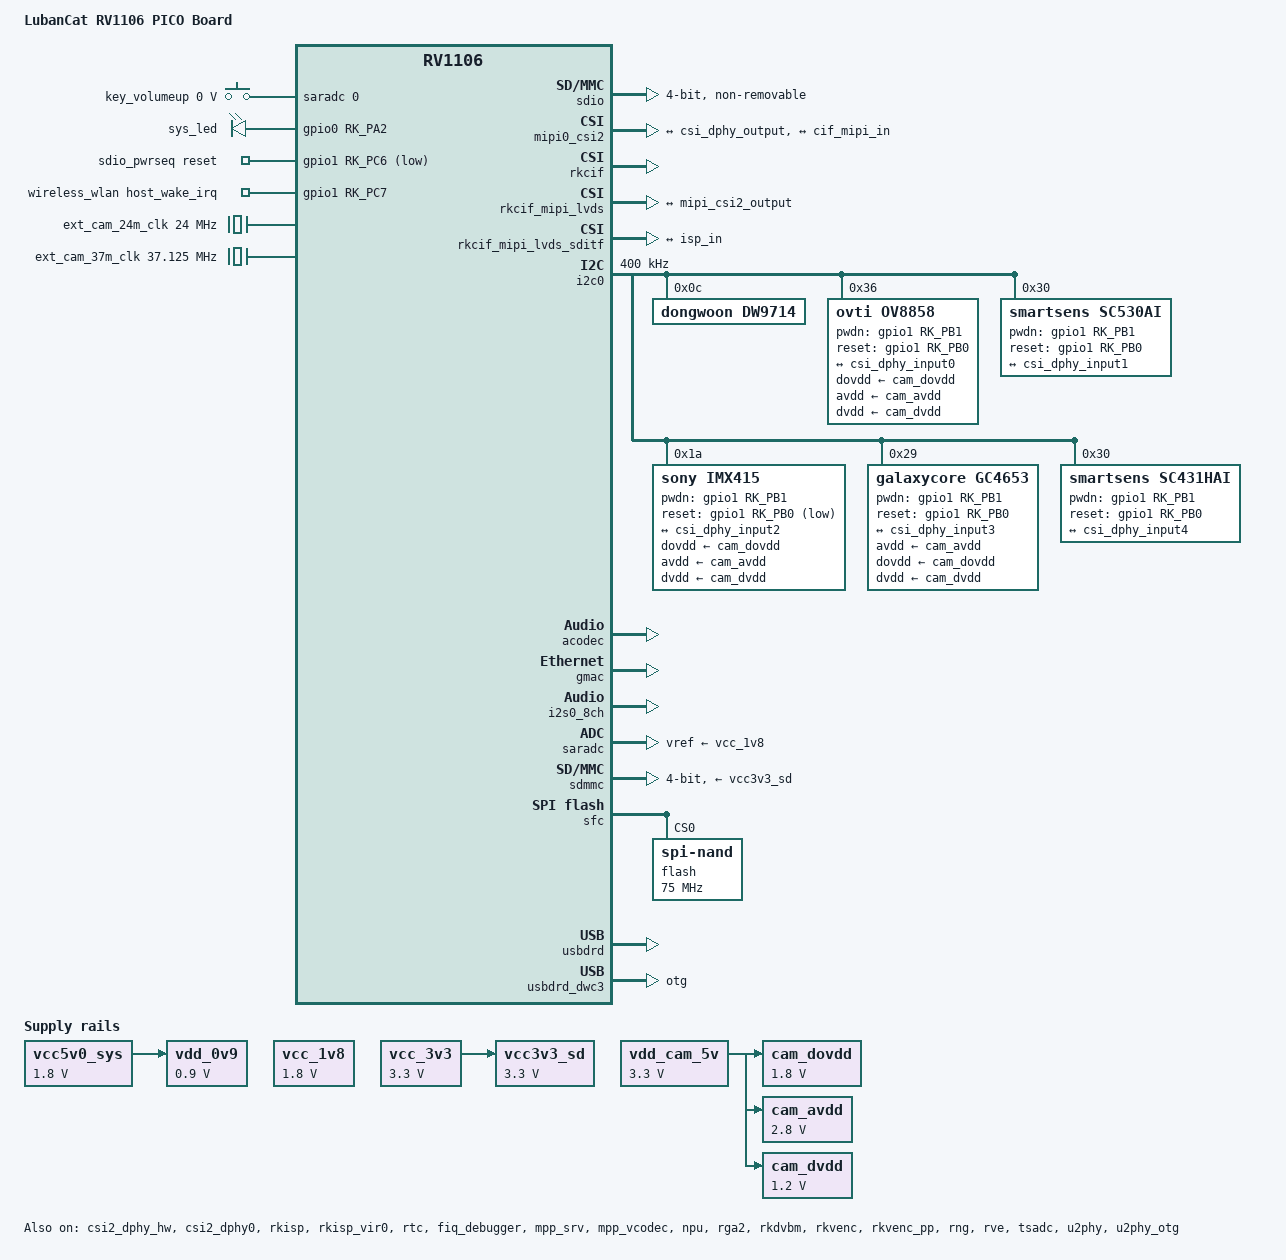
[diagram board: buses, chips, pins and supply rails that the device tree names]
// SPDX-License-Identifier: (GPL-2.0+ OR MIT)
/*
 * Copyright (c) 2022 Rockchip Electronics Co., Ltd.
 */

/dts-v1/;

#include "rv1106.dtsi"
#include <dt-bindings/input/input.h>

/ {
    model = "LubanCat RV1106 PICO Board";
	compatible = "embedfire,rv1106g-lubancat-pico", "rockchip,rv1106";

	chosen {
		bootargs = "earlycon=uart8250,mmio32,0xff4c0000 console=ttyFIQ0 root=/dev/mmcblk0p5 rootfstype=ext4 rootwait snd_soc_core.prealloc_buffer_size_kbytes=16 coherent_pool=0 net.ifnames=0 biosdevname=0";
	};

	acodec_sound: acodec-sound {
		compatible = "simple-audio-card";
		simple-audio-card,name = "rv1106-acodec";
		simple-audio-card,format = "i2s";
		simple-audio-card,mclk-fs = <256>;
		simple-audio-card,cpu {
			sound-dai = <&i2s0_8ch>;
		};
		simple-audio-card,codec {
			sound-dai = <&acodec>;
		};
	};

	restart-poweroff {
		compatible = "restart-poweroff";
	};

	recovery-key {
		compatible = "adc-keys";
		io-channels = <&saradc 0>;
		io-channel-names = "buttons";
		poll-interval = <100>;
		keyup-threshold-microvolt = <1800000>;

		key {
			label = "key_volumeup";
			linux,code = <KEY_VOLUMEUP>;
			press-threshold-microvolt = <0>;
		};
	};

	leds: leds {
		status = "okay";
		compatible = "gpio-leds";

		sys_led: sys-led {
			label = "sys_led";
			linux,default-trigger = "heartbeat";
			default-state = "on";
			gpios = <&gpio0 RK_PA2 GPIO_ACTIVE_HIGH>;
		};
	};

	vdd_0v9: vdd-0v9 {
		compatible = "regulator-fixed";
		regulator-name = "vdd_0v9";
		regulator-always-on;
		regulator-boot-on;
		regulator-min-microvolt = <900000>;
		regulator-max-microvolt = <900000>;
		vin-supply = <&vcc5v0_sys>;
	};

	vcc5v0_sys: vcc5v0-sys {
		compatible = "regulator-fixed";
		regulator-name = "vcc5v0_sys";
		regulator-always-on;
		regulator-boot-on;
		regulator-min-microvolt = <1800000>;
		regulator-max-microvolt = <1800000>;
	};

	vcc_1v8: vcc-1v8 {
		compatible = "regulator-fixed";
		regulator-name = "vcc_1v8";
		regulator-always-on;
		regulator-boot-on;
		regulator-min-microvolt = <1800000>;
		regulator-max-microvolt = <1800000>;
	};

	vcc_3v3: vcc-3v3 {
		compatible = "regulator-fixed";
		regulator-name = "vcc_3v3";
		regulator-always-on;
		regulator-boot-on;
		regulator-min-microvolt = <3300000>;
		regulator-max-microvolt = <3300000>;
	};

	vcc3v3_sd: vcc3v3-sd {
		compatible = "regulator-fixed";
		regulator-name = "vcc3v3_sd";
		regulator-always-on;
		regulator-boot-on;
		regulator-min-microvolt = <3300000>;
		regulator-max-microvolt = <3300000>;
		vin-supply = <&vcc_3v3>;
	};

	sdio_pwrseq: sdio-pwrseq {
		compatible = "mmc-pwrseq-simple";
		pinctrl-names = "default";
		pinctrl-0 = <&wifi_enable_h>;
		reset-gpios = <&gpio1 RK_PC6 GPIO_ACTIVE_LOW>;
	};

	wireless_wlan: wireless-wlan {
		compatible = "wlan-platdata";
		wifi_chip_type = "aic8800";
		// pinctrl-names = "default";
		// pinctrl-0 = <&wifi_host_wake_irq>;
		WIFI,host_wake_irq = <&gpio1 RK_PC7 GPIO_ACTIVE_HIGH>;
		status = "okay";
	};

	ext_cam_24m_clk: external-camera-24m-clock {
		compatible = "fixed-clock";
		#clock-cells = <0>;
		clock-frequency = <24000000>;
		clock-output-names = "ext_cam_24m_clk";
	}; 

	ext_cam_37m_clk: external-camera-37m-clock {
		compatible = "fixed-clock";
		clock-frequency = <37125000>;
		clock-output-names = "ext_cam_37m_clk";
		#clock-cells = <0>;
	};

	vdd_cam_5v: vdd-cam-5v-regulator {
		compatible = "regulator-fixed";
		regulator-name = "vdd_cam_5v";
		regulator-always-on;
		regulator-boot-on;
		regulator-min-microvolt = <3300000>;
		regulator-max-microvolt = <3300000>;
	};

	cam_dovdd: cam-dovdd {
		compatible = "regulator-fixed";
		regulator-name = "cam_dovdd";
		regulator-always-on;
		regulator-boot-on;
		regulator-min-microvolt = <1800000>;
		regulator-max-microvolt = <1800000>;
		vin-supply = <&vdd_cam_5v>;
	};

	cam_avdd: cam-avdd {
		compatible = "regulator-fixed";
		regulator-name = "cam_avdd";
		regulator-always-on;
		regulator-boot-on;
		regulator-min-microvolt = <2800000>;
		regulator-max-microvolt = <2800000>;
		vin-supply = <&vdd_cam_5v>;
	};

	cam_dvdd: cam-dvdd {
		compatible = "regulator-fixed";
		regulator-name = "cam_dvdd";
		regulator-always-on;
		regulator-boot-on;
		regulator-min-microvolt = <1200000>;
		regulator-max-microvolt = <1200000>;
		vin-supply = <&vdd_cam_5v>;
	};

};

&sdio {
	max-frequency = <50000000>;
	no-sd;
	no-mmc;
	bus-width = <4>;
	cap-sd-highspeed;
	cap-sdio-irq;
	keep-power-in-suspend;
	mmc-pwrseq = <&sdio_pwrseq>;
	non-removable;
	pinctrl-names = "default";
	pinctrl-0 = <&sdmmc1m1_cmd &sdmmc1m1_clk &sdmmc1m1_bus4>;
	status = "okay";
};

&pinctrl {
	sdio-pwrseq {
		wifi_enable_h: wifi-enable-h {
			rockchip,pins = <1 RK_PC6 RK_FUNC_GPIO &pcfg_pull_none>;
		};
	};

	wireless-wlan {
		wifi_host_wake_irq: wifi-host-wake-irq {
			rockchip,pins = <1 RK_PC7 RK_FUNC_GPIO &pcfg_pull_none>;
		};
	};
};


&csi2_dphy_hw {
	status = "okay";
};

&csi2_dphy0 {
	status = "okay";

	ports {
		#address-cells = <1>;
		#size-cells = <0>;

		port@0 {
			reg = <0>;
			#address-cells = <1>;
			#size-cells = <0>;

			csi_dphy_input0: endpoint@0 {
				reg = <0>;
				remote-endpoint = <&ov8858_out>;
				data-lanes = <1 2>;
			};

			csi_dphy_input1: endpoint@1 {
				reg = <1>;
				remote-endpoint = <&sc530ai_out>;
				data-lanes = <1 2>;
			};

			csi_dphy_input2: endpoint@2 {
				reg = <2>;
				remote-endpoint = <&imx415_out>;
				data-lanes = <1 2>;
			};

			csi_dphy_input3: endpoint@3 {
				reg = <3>;
				remote-endpoint = <&gc4653_out>;
				data-lanes = <1 2>;
			};

			csi_dphy_input4: endpoint@4 {
				reg = <4>;
				remote-endpoint = <&sc431hai_out>;
				data-lanes = <1 2>;
			};

			csi_dphy_input5: endpoint@5 {
				reg = <5>;
				remote-endpoint = <&sc235hai_out>;
				data-lanes = <1 2>;
			};
			
		};

		port@1 {
			reg = <1>;
			#address-cells = <1>;
			#size-cells = <0>;

			csi_dphy_output: endpoint@0 {
				reg = <0>;
				remote-endpoint = <&mipi_csi2_input>;
			};
		};
	};
};

&mipi0_csi2 {
	status = "okay";

	ports {
		#address-cells = <1>;
		#size-cells = <0>;

		port@0 {
			reg = <0>;
			#address-cells = <1>;
			#size-cells = <0>;

			mipi_csi2_input: endpoint@1 {
				reg = <1>;
				remote-endpoint = <&csi_dphy_output>;
			};
		};

		port@1 {
			reg = <1>;
			#address-cells = <1>;
			#size-cells = <0>;

			mipi_csi2_output: endpoint@0 {
				reg = <0>;
				remote-endpoint = <&cif_mipi_in>;
			};
		};
	};
};

&rkcif {
	status = "okay";
};

&rkcif_mipi_lvds {
	status = "okay";

	pinctrl-names = "default";
	pinctrl-0 = <&mipi_pins>;
	port {
		/* MIPI CSI-2 endpoint */
		cif_mipi_in: endpoint {
			remote-endpoint = <&mipi_csi2_output>;
		};
	};
};

&rkcif_mipi_lvds_sditf {
	status = "okay";

	port {
		/* MIPI CSI-2 endpoint */
		mipi_lvds_sditf: endpoint {
			remote-endpoint = <&isp_in>;
		};
	};
};

&rkisp {
	status = "okay";
};

&rkisp_vir0 {
	status = "okay";

	port@0 {
		isp_in: endpoint {
			remote-endpoint = <&mipi_lvds_sditf>;
		};
	};
};

&i2c0 {
	status = "okay";
	clock-frequency = <400000>;
	pinctrl-names = "default";
	pinctrl-0 = <&i2c0m0_xfer>;

	dw9714: dw9714@c {
		status = "okay";
		compatible = "dongwoon,dw9714";
		reg = <0xc>;
		rockchip,camera-module-index = <0>;
		rockchip,vcm-max-current = <100>;
		rockchip,vcm-start-current = <0>;
		rockchip,vcm-rated-current = <100>;
		rockchip,vcm-step-mode = <0xd>;
		rockchip,vcm-dlc-enable = <0>;
		rockchip,vcm-mclk = <0>;	
		rockchip,vcm-t-src = <0>;
		rockchip,camera-module-facing = "back";
	};


	ov8858: ov8858@36 {
		compatible = "ovti,ov8858";
		status = "okay";
		reg = <0x36>;
		clocks = <&ext_cam_24m_clk>;
		clock-names = "xvclk";
		pwdn-gpios = <&gpio1 RK_PB1 GPIO_ACTIVE_HIGH>;
		reset-gpios = <&gpio1 RK_PB0 GPIO_ACTIVE_HIGH>;

		dovdd-supply= <&cam_dovdd>; /* 1.8v */
		avdd-supply = <&cam_avdd>;  /* 2.8v */
		dvdd-supply = <&cam_dvdd>;  /* 1.2v */

		rockchip,camera-module-index = <0>;
		rockchip,camera-module-facing = "back";
		rockchip,camera-module-name = "HS5885-BNSM1018-V01";
		rockchip,camera-module-lens-name = "default";
		lens-focus = <&dw9714>;

		port {
			/* MIPI CSI-2 bus endpoint */
			ov8858_out: endpoint {
				remote-endpoint = <&csi_dphy_input0>;
				data-lanes = <1 2>;
			};
		};
	};

	sc530ai: sc530ai@30 {
		compatible = "smartsens,sc530ai";
		status = "okay";
		reg = <0x30>;
		clocks = <&ext_cam_24m_clk>;
		clock-names = "xvclk";
		pwdn-gpios = <&gpio1 RK_PB1 GPIO_ACTIVE_HIGH>;
		reset-gpios = <&gpio1 RK_PB0 GPIO_ACTIVE_HIGH>;
		rockchip,camera-module-index = <0>;
		rockchip,camera-module-facing = "back";
		rockchip,camera-module-name = "CMK-OT2115-PC1";
		rockchip,camera-module-lens-name = "30IRC-F16";
		port {
			sc530ai_out: endpoint {
				remote-endpoint = <&csi_dphy_input1>;
				data-lanes = <1 2>;
			};
		};
	};

	imx415: imx415@1a {
		compatible = "sony,imx415";
		status = "okay";
		reg = <0x1a>;
		clocks = <&ext_cam_37m_clk>;
		clock-names = "xvclk";
		pwdn-gpios = <&gpio1 RK_PB1 GPIO_ACTIVE_HIGH>;
		reset-gpios = <&gpio1 RK_PB0 GPIO_ACTIVE_LOW>;

		dovdd-supply= <&cam_dovdd>; /* 1.8v */
		avdd-supply = <&cam_avdd>;  /* 2.8v */
		dvdd-supply = <&cam_dvdd>;  /* 1.2v */

		rockchip,camera-module-index = <0>;
		rockchip,camera-module-facing = "back";
		rockchip,camera-module-name = "CMK-OT2022-PX1";
		rockchip,camera-module-lens-name = "IR0147-50IRC-8M-F20";
		rockchip,imx415-capture-mode=<1>; /* 1920x1080 */
		port {
			imx415_out: endpoint {
				remote-endpoint = <&csi_dphy_input2>;
				data-lanes = <1 2>;
			};
		};
	};

	gc4653: gc4653@29 {
		compatible = "galaxycore,gc4653";
		status = "okay";
		reg = <0x29>;
		clocks = <&ext_cam_24m_clk>;
		clock-names = "xvclk";

		avdd-supply = <&cam_avdd>;
		dovdd-supply = <&cam_dovdd>;
		dvdd-supply = <&cam_dvdd>;
		pwdn-gpios = <&gpio1 RK_PB1 GPIO_ACTIVE_HIGH>;
		reset-gpios = <&gpio1 RK_PB0 GPIO_ACTIVE_HIGH>;
		
		rockchip,camera-module-index = <0>;
		rockchip,camera-module-facing = "front";
		rockchip,camera-module-name = "YT10120";
		rockchip,camera-module-lens-name = "30IRC-4M-F20";

		// NO_HDR:0 HDR_X2:5 HDR_X3:6
		// rockchip,camera-hdr-mode = <0>;
		port {
			gc4653_out: endpoint {
				remote-endpoint = <&csi_dphy_input3>;
				data-lanes = <1 2>;
			};
		};
	};

	sc431hai: sc431hai@30 {
		compatible = "smartsens,sc431hai";
		status = "okay";
		reg = <0x30>;
		clocks = <&cru MCLK_REF_MIPI0>;
		clock-names = "xvclk";
		pwdn-gpios = <&gpio1 RK_PB1 GPIO_ACTIVE_HIGH>;
		reset-gpios = <&gpio1 RK_PB0 GPIO_ACTIVE_HIGH>;
		pinctrl-names = "default";
		pinctrl-0 = <&mipi_refclk_out0>;
		rockchip,camera-module-index = <0>;
		rockchip,camera-module-facing = "back";
		rockchip,camera-module-name = "CMK-OT2115-PC1";
		rockchip,camera-module-lens-name = "30IRC-F16";
		port {
			sc431hai_out: endpoint {
				remote-endpoint = <&csi_dphy_input4>;
				data-lanes = <1 2>;
			};
		};
	};


	sc235hai: sc235hai@30 {
		compatible = "smartsens,sc235hai";
		status = "disabled";
		reg = <0x30>;
		clocks = <&cru MCLK_REF_MIPI0>;
		clock-names = "xvclk";
		pwdn-gpios = <&gpio1 RK_PB1 GPIO_ACTIVE_HIGH>;
		reset-gpios = <&gpio1 RK_PB0 GPIO_ACTIVE_HIGH>;
		pinctrl-names = "rockchip,camera_default";
		pinctrl-0 = <&mipi_refclk_out0>;
		rockchip,camera-module-index = <0>;
		rockchip,camera-module-facing = "back";
		rockchip,camera-module-name = "CMK-OT2115-PC1";
		rockchip,camera-module-lens-name = "30IRC-F16";
		port {
			sc235hai_out: endpoint {
				remote-endpoint = <&csi_dphy_input5>;
				data-lanes = <1 2>;
			};
		};
	};
};

&acodec {
	#sound-dai-cells = <0>;
	status = "okay";
};

&cpu0 {
	cpu-supply = <&vdd_0v9>;
};

&gmac {
	status = "okay";
};


&i2s0_8ch {
	#sound-dai-cells = <0>;
	status = "okay";
};

&rmii_phy {
	bgs,increment = <0>;
};

&rtc {
	status = "okay";
};

&saradc {
	status = "okay";
	vref-supply = <&vcc_1v8>;
};

&sdmmc {
	max-frequency = <200000000>;
	no-sdio;
	no-mmc;
	bus-width = <4>;
	cap-mmc-highspeed;
	cap-sd-highspeed;
	disable-wp;
	pinctrl-names = "normal", "idle";
	pinctrl-0 = <&sdmmc0_clk &sdmmc0_cmd &sdmmc0_det &sdmmc0_bus4>;
	pinctrl-1 = <&sdmmc0_idle_pins &sdmmc0_det>;
	vmmc-supply = <&vcc3v3_sd>;
	status = "okay";
};

&sfc {
	status = "okay";

	flash@0 {
		compatible = "spi-nand";
		reg = <0>;
		spi-max-frequency = <75000000>;
		spi-rx-bus-width = <4>;
		spi-tx-bus-width = <1>;
	};
};

&fiq_debugger {
	rockchip,irq-mode-enable = <1>;
	status = "okay";
};

&mpp_srv {
	status = "okay";
};

&mpp_vcodec {
	status = "okay";
};

&npu {
	status = "okay";
};

&rga2 {
	status = "okay";
};

&rkdvbm {
	status = "okay";
};

&rkvenc {
	status = "okay";
};

&rkvenc_pp {
	status = "okay";
};

&rng {
	status = "okay";
};

&rve {
	status = "okay";
};

&tsadc {
	status = "okay";
};

&u2phy {
	status = "okay";
};

&u2phy_otg {
	status = "okay";
};

&usbdrd {
	status = "okay";
};

&usbdrd_dwc3 {
    extcon = <&u2phy>;
	status = "okay";
    dr_mode = "otg";
};

